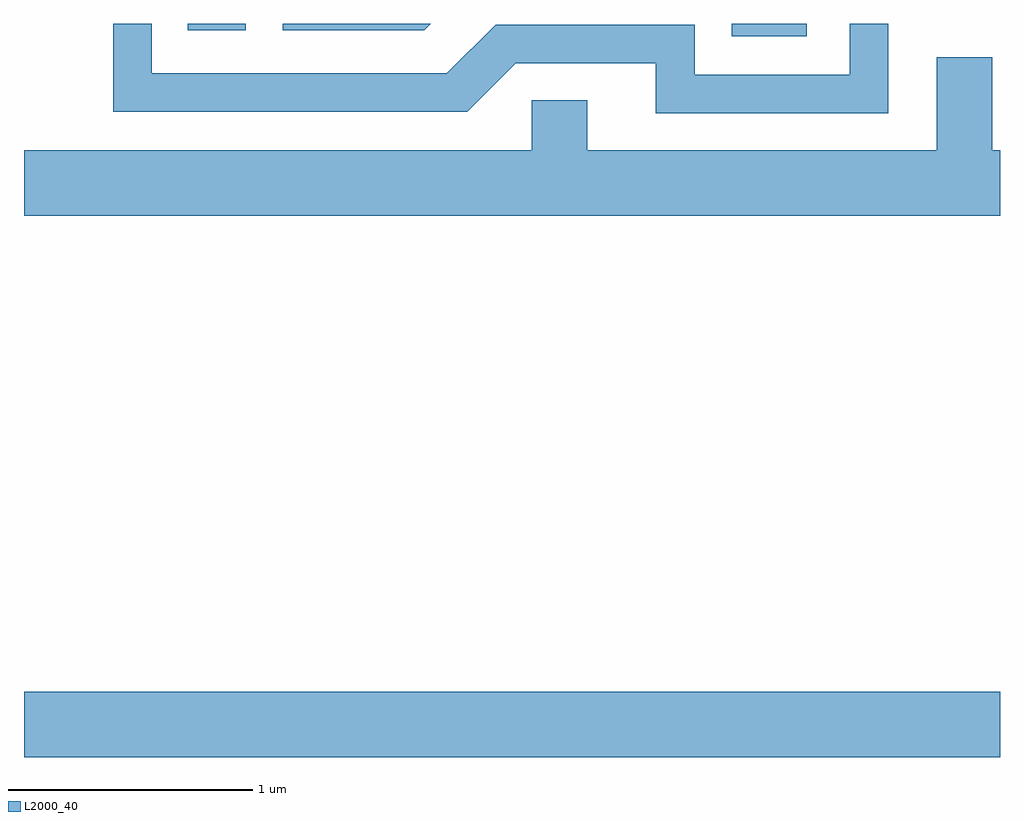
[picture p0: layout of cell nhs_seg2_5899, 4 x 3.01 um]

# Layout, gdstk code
import gdstk
lib = gdstk.Library(unit=1e-6, precision=1e-09)
def R(c, l, rs):  # rectangles x0, y0, x1, y1
    for r in rs: c.add(gdstk.rectangle(r[:2], r[2:], *l))
def P(c, l, *ps):  # polygons
    for p in ps: c.add(gdstk.Polygon(p, *l))
L2000_40 = (2000, 40)

nhs_seg2_5899 = lib.new_cell('nhs_seg2_5899')
R(nhs_seg2_5899, L2000_40, [(359.611,1012.796,363.611,1013.064), (362.511,1015.751,362.819,1015.802), (360.283,1015.776,360.519,1015.802)])
P(nhs_seg2_5899, L2000_40, [(363.154,1015.802),(362.996,1015.802),(362.996,1015.594),(362.359,1015.594),(362.359,1015.799),(361.544,1015.799),(361.344,1015.599),(360.134,1015.599),(360.134,1015.802),(359.976,1015.802),(359.976,1015.441),(361.427,1015.441),(361.627,1015.641),(362.201,1015.641),(362.201,1015.436),(363.154,1015.436)],
  [(361.278,1015.802),(360.671,1015.802),(360.671,1015.776),(361.252,1015.776)],
  [(363.611,1015.284),(363.579,1015.284),(363.579,1015.664),(363.351,1015.664),(363.351,1015.284),(361.919,1015.284),(361.919,1015.489),(361.691,1015.489),(361.691,1015.284),(359.611,1015.284),(359.611,1015.016),(363.611,1015.016)])

lib.write_gds('nhs_seg2_5899.gds')
